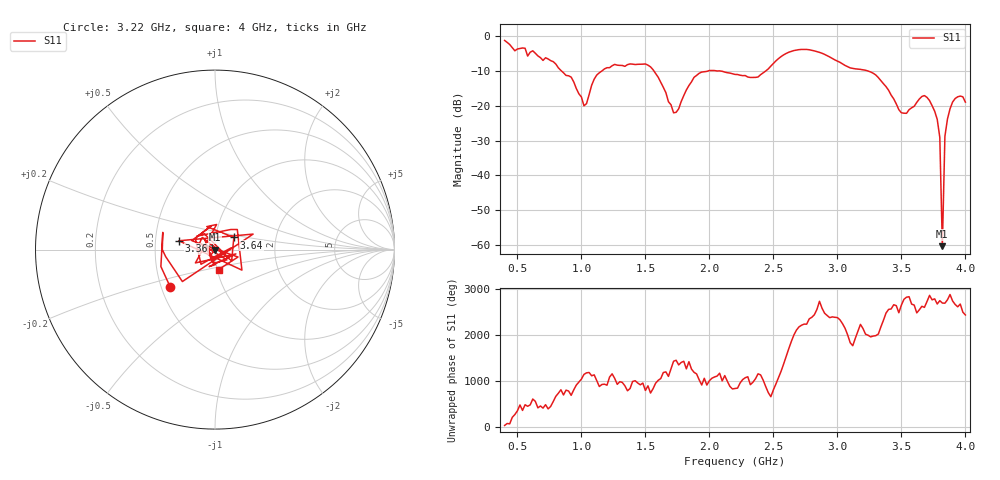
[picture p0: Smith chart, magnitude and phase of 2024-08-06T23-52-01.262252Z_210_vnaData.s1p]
!Created with skrf (http://scikit-rf.org).
# Hz S RI R 50.0
!freq ReS11 ImS11
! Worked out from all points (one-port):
!   181 points, 400 MHz to 4 GHz, reference 50 ohm
!   lowest |S11| = -60.4 dB at 3.82 GHz (marker M1), VSWR 1.00, Z = 49.9 - j0.00129 ohm
!   |S11| at or under -10 dB: 1.567 GHz to 1.988 GHz (421.5 MHz wide, 23.7 % of centre); 2.087 GHz to 2.44 GHz (352.7 MHz wide, 15.6 % of centre); 3.239 GHz to end of sweep (the widest 3 of 4)
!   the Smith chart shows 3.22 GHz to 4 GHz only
!   S11 on the Smith chart (normalised r, x): 3.22 GHz: 0.56, -0.26; 3.36 GHz: 0.66, +0.07; 3.64 GHz: 1.22, +0.17; 4 GHz: 1.01, -0.23
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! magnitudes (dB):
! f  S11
! 400 MHz  -1.2
! 860 MHz  -10.5
! 920 MHz  -11.8
! 1.02 GHz  -20.0
! 1.12 GHz  -11.1
! 1.3 GHz  -8.4
! 1.54 GHz  -8.8
! 1.72 GHz  -22.0
! 1.76 GHz  -20.9
! 1.92 GHz  -10.6
! 2.2 GHz  -11.0
! 2.38 GHz  -11.7
! 2.66 GHz  -4.1
! 2.86 GHz  -4.6
! 3.1 GHz  -9.1
! 3.22 GHz  -9.8
! 3.36 GHz  -13.7
! 3.5 GHz  -22.0
! 3.56 GHz  -21.1
! 3.64 GHz  -18.1
! 3.7 GHz  -17.6
! 3.78 GHz  -23.9
! 3.8 GHz  -29.1
! 3.82 GHz  -60.4
! 3.84 GHz  -28.8
! 3.86 GHz  -23.8
! 3.92 GHz  -17.9
! 4 GHz  -19.0
